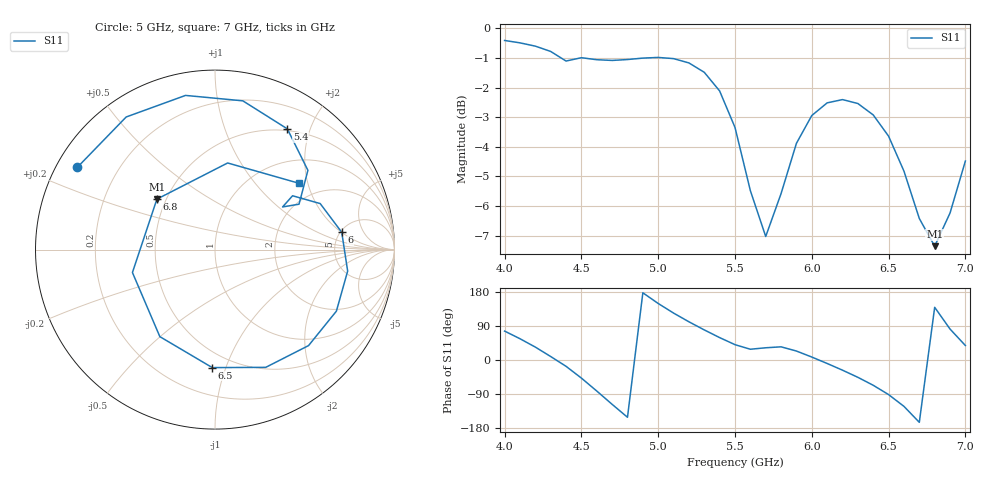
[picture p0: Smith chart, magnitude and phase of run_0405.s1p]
! Touchstone file exported from HFSS 2024.2.0
!  File:  C:/Users/wsak9/Desktop/Sim Fast/Widenad Patch/WP_AI_V1_sweep.aedt
!  Generated:  08:28:46 AM Oct 14, 2026
!  Design:  A1_model
!  Project:  WP_AI_V1_sweep
!  Setup:  Setup1
!  Solution:  Sweep
! Variables:
!  Air_gap = 2.99mm
!  Curve_Amp1 = 2.9
!  Curve_len1 = 1
!  Curve_pos = 10.035mm
!  Extra = 0.69mm
!  H_sub = 0.79mm
!  L_Patch = 16.07mm
!  L_Patch1 = 10.41mm
!  Sx = 2.39mm
!  Sy = 1.05mm
!  WS = 1.13mm
!  W_Patch = 22mm
!  W_Patch1 = 9.72mm
!Data is not renormalized
# GHz S MA
! Terminal data exported
! Port[1] = 1
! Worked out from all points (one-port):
!   31 points, 4 GHz to 7 GHz, reference per port
!   lowest |S11| = -7.4 dB at 6.8 GHz (marker M1), VSWR 2.50
!   |S11| at or under -10 dB: nowhere
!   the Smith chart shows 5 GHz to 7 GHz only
!   S11 on the Smith chart (normalised r, x): 5 GHz: 0.06, +0.28; 5.4 GHz: 0.48, +1.66; 6 GHz: 5.14, +2.02; 6.5 GHz: 0.39, -0.90; 6.8 GHz: 0.45, +0.31; 7 GHz: 1.54, +1.77
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4  0.9545 76.3
4.1  0.9456 56.2
4.2  0.9336 34.0
4.3  0.9145 9.2
4.4  0.881 -16.7
4.5  0.8925 -47.8
4.6  0.8856 -81.9
4.7  0.8831 -117.0
4.8  0.8862 -151.1
4.9  0.8912 177.4
5  0.8935 149.1
5.1  0.8893 123.8
5.2  0.8746 100.8
5.3  0.8432 79.4
5.4  0.7842 59.1
5.5  0.6804 40.5
5.6  0.5321 28.4
5.7  0.4452 32.3
5.9  0.6397 23.6
6  0.7127 7.8
6.1  0.7487 -9.2
6.3  0.7468 -45.7
6.5  0.6576 -91.3
6.6  0.5741 -122.3
6.7  0.4775 -164.5
6.8  0.4287 139.0
6.9  0.4877 81.7
7  0.5971 38.2
